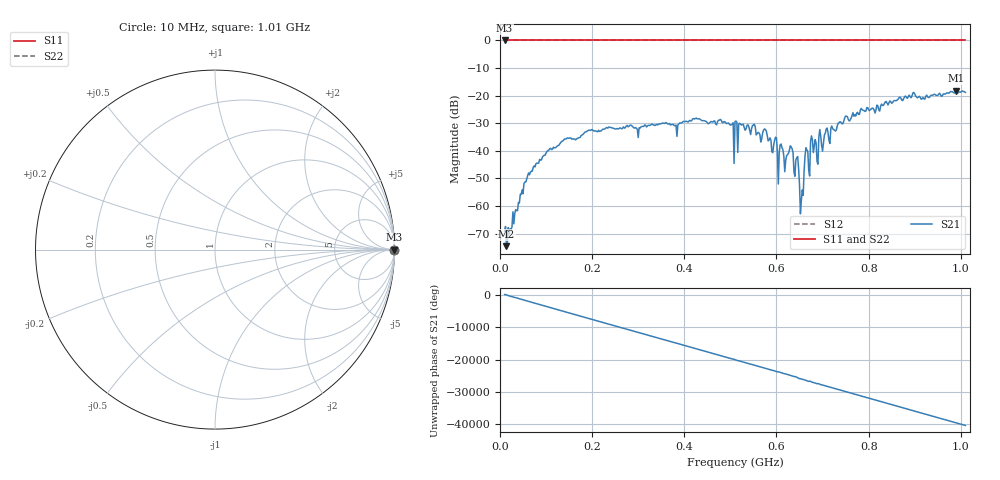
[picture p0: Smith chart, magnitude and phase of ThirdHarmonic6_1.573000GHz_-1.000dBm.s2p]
! 8/16/2025 6:42:44 PM
! C:\ANRITSUVNA\TEMP\TEMP.S2P
! CHANNEL.1
! TR.MEASUREMENT
! RAW.DATA
! RF.CORRECTION.OFF
! AVERAGING.OFF
! IF.BANDWIDTH: 5KHZ
! SWEEPTYPE:  FREQ.SWEEP(Linear)
! Reference Plane Port Info
! PORT:  PORT1  PORT2
! DISTANCE:  0  m  0  m
! TIME:  0  s  0  s
! PHASE.OFFSET:  0  deg.  0  deg.
! LOSS:  0  dB  0  dB
! REF.LOSS:  0  dB  0  dB
! REF.FREQ:  0  Hz  0  Hz
! Power Info
! POWER:  -20  dBm  -20  dBm
! EFF.POWER:  -20  dBm  -20  dBm
! SOURCE.ATTEN:  0  dB  0  dB
! TEST.ATTEN:  0  dB  0  dB
# GHZ S RI R 50.0
! FREQ.GHZ  S11RE  S11IM  S21RE  S21IM  S12RE  S12IM  S22RE  S22IM
!; PortSelection: Port_12
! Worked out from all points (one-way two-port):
!   501 points, 10 MHz to 1.01 GHz, reference 50 ohm
!   highest |S21| = -18.25 dB at 990 MHz (marker M1); lowest = -74.6 dB at 14 MHz (marker M2)
!   lowest |S11| = 0.0 dB at 10 MHz (marker M3)
!   |S11| at or under -10 dB: nowhere
!   |S22| runs from 0.0 to 0.0 dB; largest |S21 - S12| = 1.1
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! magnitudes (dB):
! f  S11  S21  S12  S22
! 10 MHz  0.0  -69.2  0.0  0.0
! 14 MHz  0.0  -74.6  0.0  0.0
! 56 MHz  0.0  -51.3  0.0  0.0
! 76 MHz  0.0  -45.9  0.0  0.0
! 178 MHz  0.0  -34.3  0.0  0.0
! 344 MHz  0.0  -30.5  0.0  0.0
! 428 MHz  0.0  -28.4  0.0  0.0
! 510 MHz  0.0  -29.4  0.0  0.0
! 574 MHz  0.0  -32.1  0.0  0.0
! 620 MHz  0.0  -43.6  0.0  0.0
! 632 MHz  0.0  -38.6  0.0  0.0
! 646 MHz  0.0  -42.1  0.0  0.0
! 654 MHz  0.0  -58.0  0.0  0.0
! 664 MHz  0.0  -38.9  0.0  0.0
! 670 MHz  0.0  -47.1  0.0  0.0
! 678 MHz  0.0  -36.1  0.0  0.0
! 686 MHz  0.0  -37.1  0.0  0.0
! 708 MHz  0.0  -32.1  0.0  0.0
! 750 MHz  0.0  -27.4  0.0  0.0
! 844 MHz  0.0  -22.7  0.0  0.0
! 990 MHz  0.0  -18.3  0.0  0.0
! 1.01 GHz  0.0  -18.8  0.0  0.0
